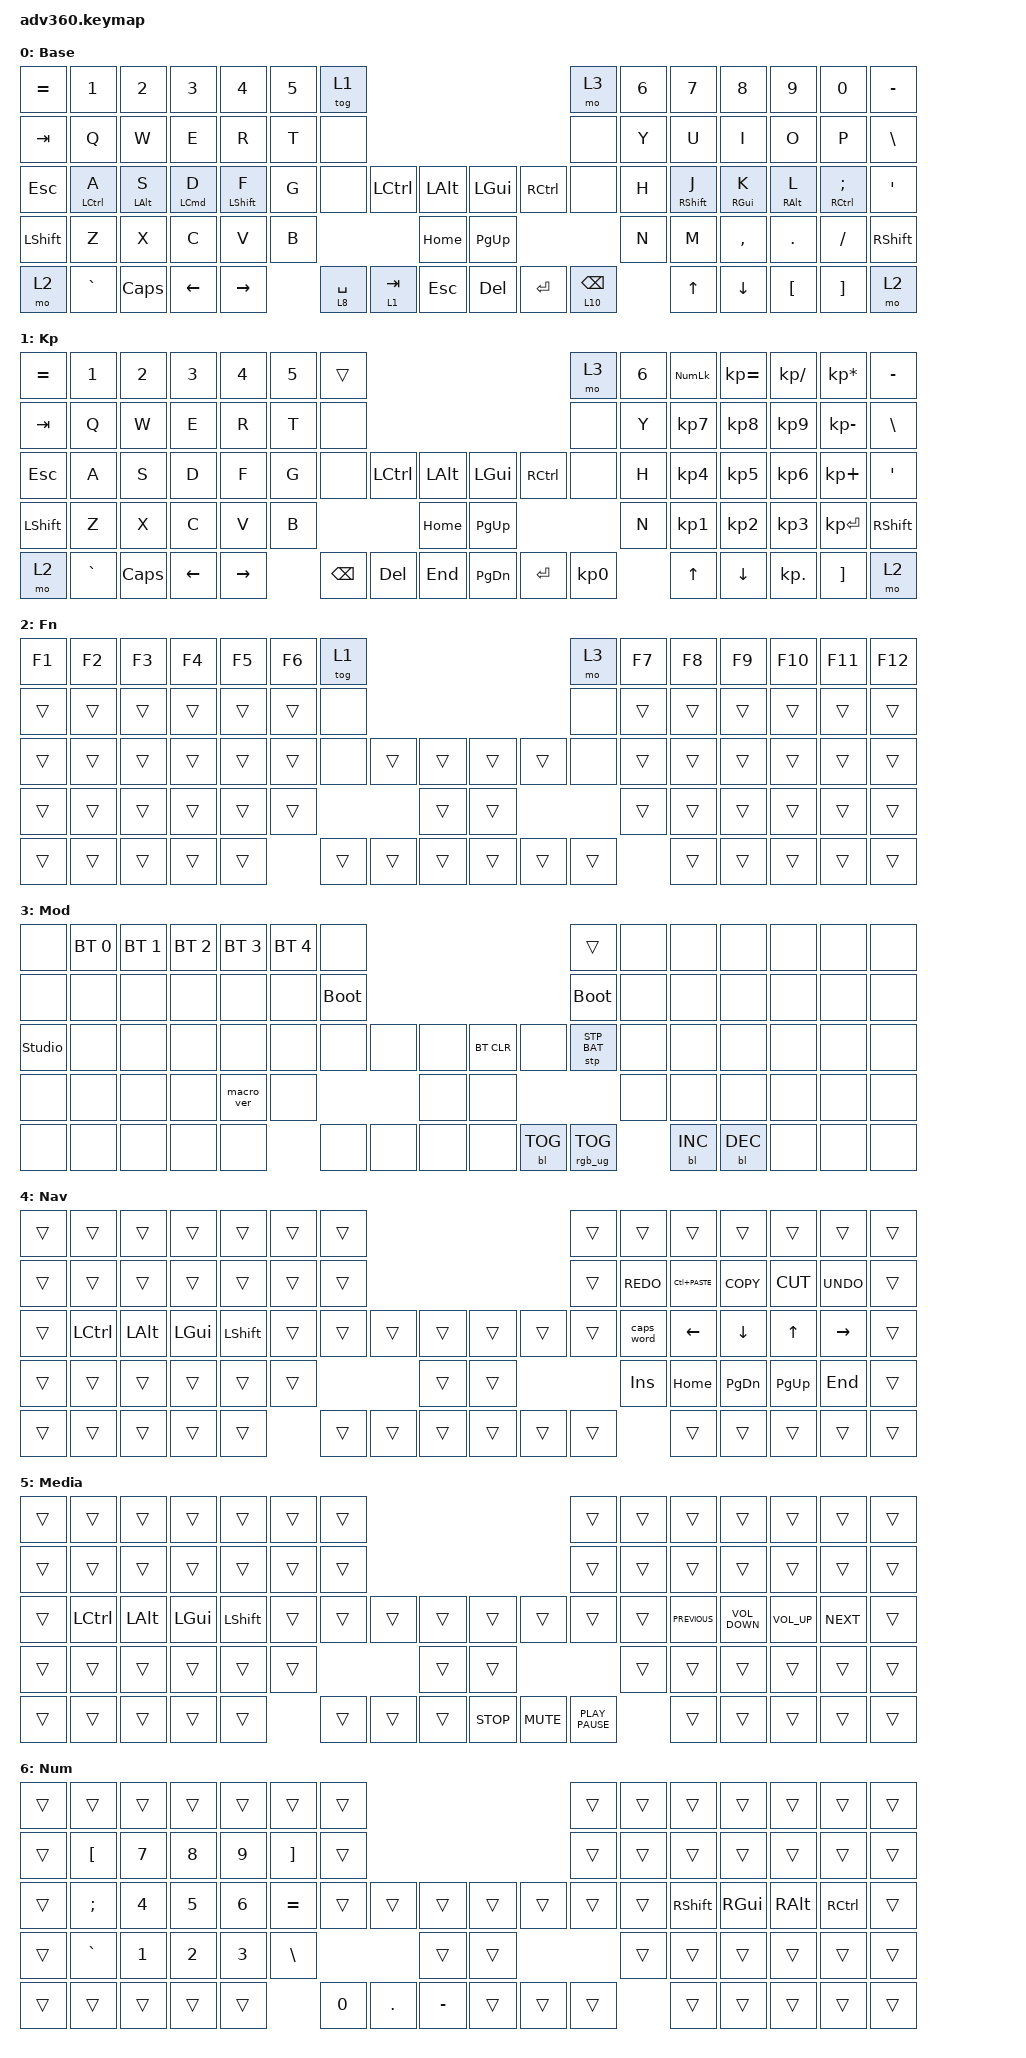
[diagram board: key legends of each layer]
#include <dt-bindings/zmk/stp.h>
#include <behaviors.dtsi>
#include <dt-bindings/zmk/backlight.h>
#include <dt-bindings/zmk/bt.h>
#include <dt-bindings/zmk/keys.h>
#include <dt-bindings/zmk/rgb.h>

/ {
    behaviors {
        #include "macros.dtsi"
      #include "version.dtsi"

        hm: homerow_mods {
            compatible = "zmk,behavior-hold-tap";
            label = "HOMEROW_MODS";
            #binding-cells = <2>;
            tapping-term-ms = <200>;
            quick_tap_ms = <175>;
            flavor = "tap-preferred";
            bindings = <&kp>, <&kp>;
        };
    };

    keymap {
        compatible = "zmk,keymap";

        default_layer {
            display-name = "Base";
            bindings = <
&kp EQUAL  &kp N1              &kp N2          &kp N3              &kp N4            &kp N5  &tog 1                                                        &mo 3             &kp N6  &kp N7             &kp N8           &kp N9           &kp N0                       &kp MINUS
&kp TAB    &kp Q               &kp W           &kp E               &kp R             &kp T   &none                                                         &none             &kp Y   &kp U              &kp I            &kp O            &kp P                        &kp BSLH
&kp ESC    &hm LEFT_CONTROL A  &hm LEFT_ALT S  &hm LEFT_COMMAND D  &hm LEFT_SHIFT F  &kp G   &none        &kp LCTRL  &kp LALT        &kp LGUI   &kp RCTRL  &none             &kp H   &hm RIGHT_SHIFT J  &hm RIGHT_GUI K  &hm RIGHT_ALT L  &hm RIGHT_CONTROL SEMICOLON  &kp SQT
&kp LSHFT  &kp Z               &kp X           &kp C               &kp V             &kp B                           &kp HOME        &kp PG_UP                               &kp N   &kp M              &kp COMMA        &kp DOT          &kp FSLH                     &kp RSHFT
&mo 2      &kp GRAVE           &kp CAPS        &kp LEFT            &kp RIGHT                 &lt 8 SPACE  &lt 1 TAB  &kp ESCAPE      &kp DEL    &kp ENTER  &lt 10 BACKSPACE          &kp UP             &kp DOWN         &kp LBKT         &kp RBKT                     &mo 2
            >;
        };

        keypad {
            display-name = "Kp";
            bindings = <
&kp EQUAL  &kp N1     &kp N2    &kp N3    &kp N4     &kp N5  &trans                                                   &mo 3      &kp N6  &kp KP_NUM  &kp KP_EQUAL  &kp KP_DIVIDE  &kp KP_MULTIPLY  &kp MINUS
&kp TAB    &kp Q      &kp W     &kp E     &kp R      &kp T   &none                                                    &none      &kp Y   &kp KP_N7   &kp KP_N8     &kp KP_N9      &kp KP_MINUS     &kp BSLH
&kp ESC    &kp A      &kp S     &kp D     &kp F      &kp G   &none     &kp LCTRL  &kp LALT      &kp LGUI   &kp RCTRL  &none      &kp H   &kp KP_N4   &kp KP_N5     &kp KP_N6      &kp KP_PLUS      &kp SQT
&kp LSHFT  &kp Z      &kp X     &kp C     &kp V      &kp B                        &kp HOME      &kp PG_UP                        &kp N   &kp KP_N1   &kp KP_N2     &kp KP_N3      &kp KP_ENTER     &kp RSHFT
&mo 2      &kp GRAVE  &kp CAPS  &kp LEFT  &kp RIGHT          &kp BSPC  &kp DEL    &kp END       &kp PG_DN  &kp ENTER  &kp KP_N0          &kp UP      &kp DOWN      &kp KP_DOT     &kp RBKT         &mo 2
            >;
        };

        fn {
            display-name = "Fn";
            bindings = <
&kp F1  &kp F2  &kp F3  &kp F4  &kp F5  &kp F6  &tog 1                                      &mo 3   &kp F7  &kp F8  &kp F9  &kp F10  &kp F11  &kp F12
&trans  &trans  &trans  &trans  &trans  &trans  &none                                       &none   &trans  &trans  &trans  &trans   &trans   &trans
&trans  &trans  &trans  &trans  &trans  &trans  &none   &trans  &trans      &trans  &trans  &none   &trans  &trans  &trans  &trans   &trans   &trans
&trans  &trans  &trans  &trans  &trans  &trans                  &trans      &trans                  &trans  &trans  &trans  &trans   &trans   &trans
&trans  &trans  &trans  &trans  &trans          &trans  &trans  &trans      &trans  &trans  &trans          &trans  &trans  &trans   &trans   &trans
            >;
        };

        mod {
            display-name = "Mod";
            bindings = <
&none           &bt BT_SEL 0  &bt BT_SEL 1  &bt BT_SEL 2  &bt BT_SEL 3  &bt BT_SEL 4  &none                                                  &trans           &none  &none       &none       &none  &none  &none
&none           &none         &none         &none         &none         &none         &bootloader                                            &bootloader      &none  &none       &none       &none  &none  &none
&studio_unlock  &none         &none         &none         &none         &none         &none        &none  &none      &bt BT_CLR  &none       &stp STP_BAT     &none  &none       &none       &none  &none  &none
&none           &none         &none         &none         &macro_ver    &none                             &none      &none                                    &none  &none       &none       &none  &none  &none
&none           &none         &none         &none         &none                       &none        &none  &none      &none       &bl BL_TOG  &rgb_ug RGB_TOG         &bl BL_INC  &bl BL_DEC  &none  &none  &none
            >;
        };

        extra1 {
            display-name = "Red";
            status = "reserved";
        };

        extra2 {
            display-name = "Purple";
            status = "reserved";
        };

        extra3 {
            display-name = "Cyan";
            status = "reserved";
        };

        extra4 {
            display-name = "Yellow";
            status = "reserved";
        };

        Nav {
            bindings = <
&trans  &trans            &trans        &trans        &trans          &trans  &trans                                      &trans  &trans      &trans           &trans          &trans        &trans           &trans
&trans  &trans            &trans        &trans        &trans          &trans  &trans                                      &trans  &kp K_REDO  &kp LC(K_PASTE)  &kp K_COPY      &kp K_CUT     &kp K_UNDO       &trans
&trans  &kp LEFT_CONTROL  &kp LEFT_ALT  &kp LEFT_GUI  &kp LEFT_SHIFT  &trans  &trans  &trans  &trans      &trans  &trans  &trans  &caps_word  &kp LEFT_ARROW   &kp DOWN_ARROW  &kp UP_ARROW  &kp RIGHT_ARROW  &trans
&trans  &trans            &trans        &trans        &trans          &trans                  &trans      &trans                  &kp INSERT  &kp HOME         &kp PAGE_DOWN   &kp PAGE_UP   &kp END          &trans
&trans  &trans            &trans        &trans        &trans                  &trans  &trans  &trans      &trans  &trans  &trans              &trans           &trans          &trans        &trans           &trans
            >;
        };

        Media {
            bindings = <
&trans  &trans     &trans    &trans    &trans     &trans  &trans                                              &trans            &trans  &trans          &trans             &trans           &trans      &trans
&trans  &trans     &trans    &trans    &trans     &trans  &trans                                              &trans            &trans  &trans          &trans             &trans           &trans      &trans
&trans  &kp LCTRL  &kp LALT  &kp LGUI  &kp LSHFT  &trans  &trans  &trans  &trans      &trans      &trans      &trans            &trans  &kp K_PREVIOUS  &kp C_VOLUME_DOWN  &kp C_VOLUME_UP  &kp K_NEXT  &trans
&trans  &trans     &trans    &trans    &trans     &trans                  &trans      &trans                                    &trans  &trans          &trans             &trans           &trans      &trans
&trans  &trans     &trans    &trans    &trans             &trans  &trans  &trans      &kp K_STOP  &kp K_MUTE  &kp K_PLAY_PAUSE          &trans          &trans             &trans           &trans      &trans
            >;
        };

        Num {
            bindings = <
&trans  &trans     &trans  &trans  &trans  &trans     &trans                                          &trans  &trans  &trans     &trans    &trans    &trans     &trans
&trans  &kp LBKT   &kp N7  &kp N8  &kp N9  &kp RBKT   &trans                                          &trans  &trans  &trans     &trans    &trans    &trans     &trans
&trans  &kp SEMI   &kp N4  &kp N5  &kp N6  &kp EQUAL  &trans  &trans   &trans         &trans  &trans  &trans  &trans  &kp RSHFT  &kp RGUI  &kp RALT  &kp RCTRL  &trans
&trans  &kp GRAVE  &kp N1  &kp N2  &kp N3  &kp BSLH                    &trans         &trans                  &trans  &trans     &trans    &trans    &trans     &trans
&trans  &trans     &trans  &trans  &trans             &kp N0  &kp DOT  &kp MINUS      &trans  &trans  &trans          &trans     &trans    &trans    &trans     &trans
            >;
        };
    };
};
